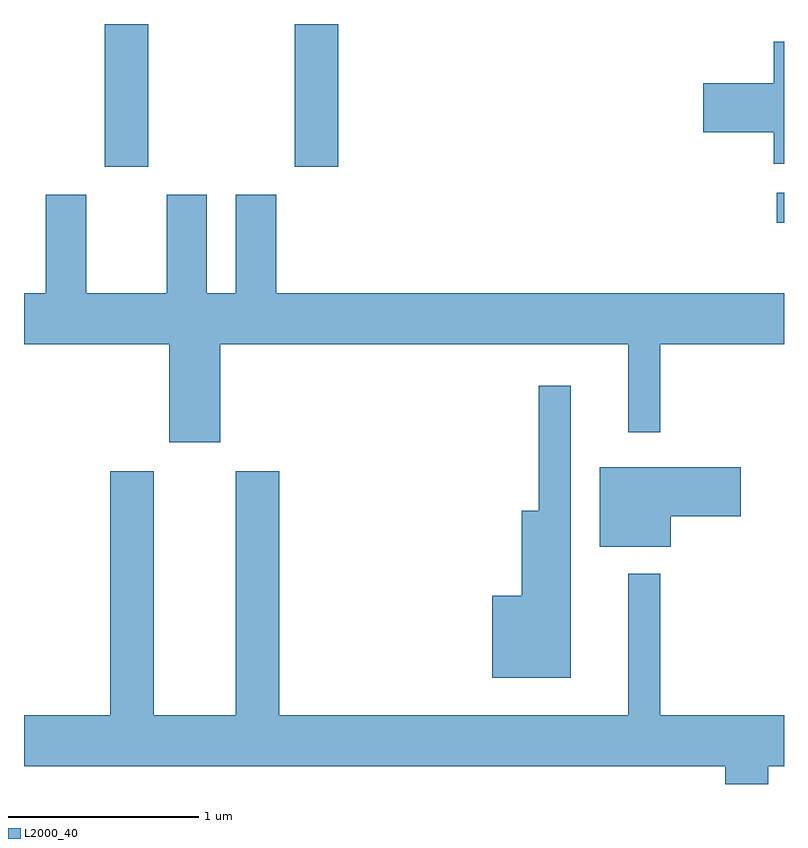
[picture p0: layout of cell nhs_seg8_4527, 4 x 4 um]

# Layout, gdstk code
import gdstk
lib = gdstk.Library(unit=1e-6, precision=1e-09)
def R(c, l, rs):  # rectangles x0, y0, x1, y1
    for r in rs: c.add(gdstk.rectangle(r[:2], r[2:], *l))
def P(c, l, *ps):  # polygons
    for p in ps: c.add(gdstk.Polygon(p, *l))
L2000_40 = (2000, 40)

nhs_seg8_4527 = lib.new_cell('nhs_seg8_4527')
R(nhs_seg8_4527, L2000_40, [(325.573,1819.296,325.611,1819.454), (322.036,1819.591,322.264,1820.342), (323.036,1819.591,323.264,1820.342)])
P(nhs_seg8_4527, L2000_40, [(325.611,1820.249),(325.556,1820.249),(325.556,1820.029),(325.186,1820.029),(325.186,1819.771),(325.556,1819.771),(325.556,1819.606),(325.611,1819.606)],
  [(322.644,1818.656),(324.791,1818.656),(324.791,1818.193),(324.959,1818.193),(324.959,1818.656),(325.611,1818.656),(325.611,1818.924),(322.939,1818.924),(322.939,1819.444),(322.726,1819.444),(322.726,1818.924),(322.574,1818.924),(322.574,1819.444),(322.361,1819.444),(322.361,1818.924),(321.939,1818.924),(321.939,1819.444),(321.726,1819.444),(321.726,1818.924),(321.611,1818.924),(321.611,1818.656),(322.376,1818.656),(322.376,1818.141),(322.644,1818.141)],
  [(324.489,1818.438),(324.321,1818.438),(324.321,1817.779),(324.231,1817.779),(324.231,1817.334),(324.076,1817.334),(324.076,1816.901),(324.489,1816.901)],
  [(325.014,1817.751),(325.384,1817.751),(325.384,1818.009),(324.641,1818.009),(324.641,1817.591),(325.014,1817.591)],
  [(325.529,1816.436),(325.611,1816.436),(325.611,1816.704),(324.959,1816.704),(324.959,1817.448),(324.791,1817.448),(324.791,1816.704),(322.954,1816.704),(322.954,1817.989),(322.726,1817.989),(322.726,1816.704),(322.294,1816.704),(322.294,1817.989),(322.066,1817.989),(322.066,1816.704),(321.611,1816.704),(321.611,1816.436),(325.301,1816.436),(325.301,1816.342),(325.529,1816.342)])

lib.write_gds('nhs_seg8_4527.gds')
